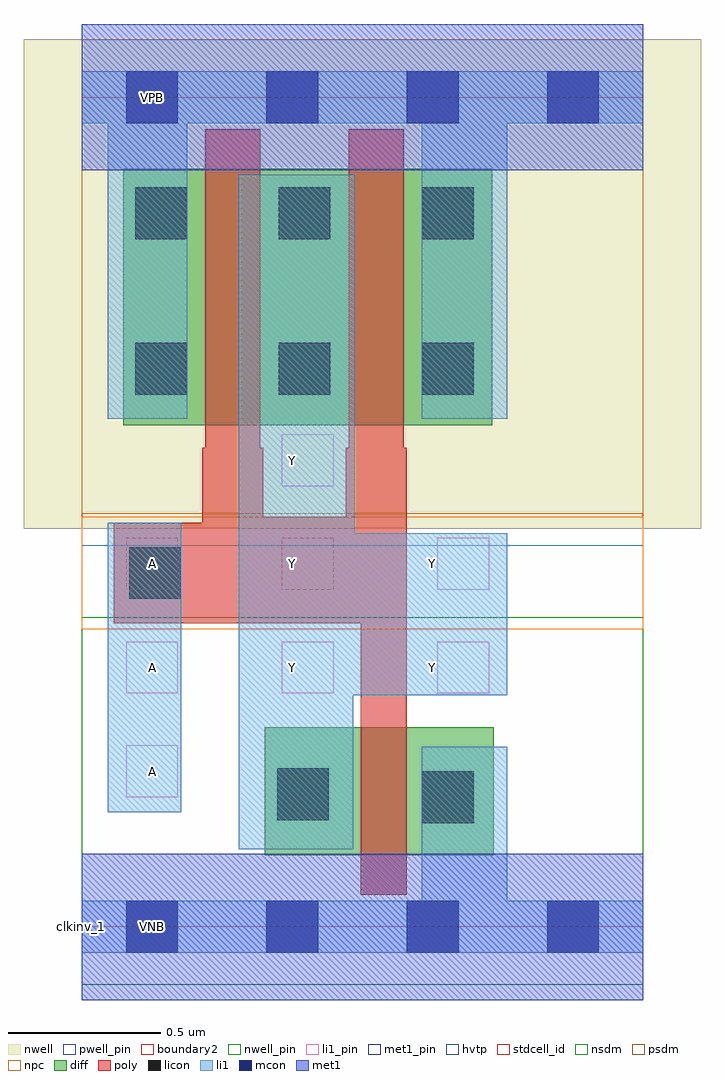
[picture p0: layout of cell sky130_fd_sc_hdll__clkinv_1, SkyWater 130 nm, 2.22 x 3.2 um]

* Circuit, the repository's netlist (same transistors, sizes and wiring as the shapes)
* Copyright 2020 The SkyWater PDK Authors
*
* Licensed under the Apache License, Version 2.0 (the "License");
* you may not use this file except in compliance with the License.
* You may obtain a copy of the License at
*
*     https://www.apache.org/licenses/LICENSE-2.0
*
* Unless required by applicable law or agreed to in writing, software
* distributed under the License is distributed on an "AS IS" BASIS,
* WITHOUT WARRANTIES OR CONDITIONS OF ANY KIND, either express or implied.
* See the License for the specific language governing permissions and
* limitations under the License.
*
* SPDX-License-Identifier: Apache-2.0

.SUBCKT sky130_fd_sc_hdll__clkinv_1 A VGND VNB VPB VPWR Y
*.PININFO A:I VGND:I VNB:I VPB:I VPWR:I Y:O
MMIN0 Y A VGND VNB sky130_fd_pr__nfet_01v8 m=1 w=0.42U l=0.15U mult=1 sa=0.265
+ sb=0.265 sd=0.28 area=0.063 perim=1.14
MMIP0 Y A VPWR VPB sky130_fd_pr__pfet_01v8_hvt m=2 w=0.84U l=0.18U mult=1 sa=0.265
+ sb=0.265 sd=0.28 area=0.063 perim=1.14
.ENDS sky130_fd_sc_hdll__clkinv_1

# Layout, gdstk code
import gdstk
lib = gdstk.Library(unit=1e-6, precision=1e-09)
def R(c, l, rs):  # rectangles x0, y0, x1, y1
    for r in rs: c.add(gdstk.rectangle(r[:2], r[2:], *l))
def A(c, l, x, y, w, h, nx, ny, dx, dy):  # array of equal rectangles
    R(c, l, [(x+i*dx, y+j*dy, x+i*dx+w, y+j*dy+h) for i in range(nx) for j in range(ny)])
def P(c, l, *ps):  # polygons
    for p in ps: c.add(gdstk.Polygon(p, *l))
nwell_pin = (64, 16)
nwell = (64, 20)
diff = (65, 20)
poly = (66, 20)
licon = (66, 44)
li1_pin = (67, 16)
li1 = (67, 20)
mcon = (67, 44)
met1_pin = (68, 16)
met1 = (68, 20)
hvtp = (78, 44)
stdcell_id = (81, 4)
nsdm = (93, 44)
psdm = (94, 20)
npc = (95, 20)
pwell_pin = (122, 16)
boundary2 = (236, 0)

sky130_fd_sc_hdll__clkin = lib.new_cell('sky130_fd_sc_hdll__clkinv_1')
R(sky130_fd_sc_hdll__clkin, nwell_pin, [(0.145,2.635,0.315,2.805)])
R(sky130_fd_sc_hdll__clkin, nwell, [(-0.19,1.305,2.03,2.91)])
R(sky130_fd_sc_hdll__clkin, diff, [(0.6,0.235,1.35,0.655), (0.135,1.645,1.345,2.485)])
P(sky130_fd_sc_hdll__clkin, poly, [(1.065,1.57),(1.055,1.57),(1.055,2.615),(0.875,2.615),(0.875,1.57),(0.865,1.57),(0.865,1.345),(0.595,1.345),(0.595,1.57),(0.585,1.57),(0.585,2.615),(0.405,2.615),(0.405,1.57),(0.395,1.57),(0.395,1.325),(0.105,1.325),(0.105,0.995),(0.915,0.995),(0.915,0.105),(1.065,0.105)])
A(sky130_fd_sc_hdll__clkin, licon, 0.175, 1.745, 0.17, 0.17, 3, 2, 0.47, 0.51)
R(sky130_fd_sc_hdll__clkin, licon, [(1.115,0.34,1.285,0.51), (0.64,0.35,0.81,0.52), (0.155,1.075,0.325,1.245)])
A(sky130_fd_sc_hdll__clkin, li1_pin, 0.145, 0.765, 0.17, 0.17, 3, 2, 0.51, 0.34)
R(sky130_fd_sc_hdll__clkin, li1_pin, [(0.145,0.425,0.315,0.595), (0.655,1.445,0.825,1.615)])
R(sky130_fd_sc_hdll__clkin, li1, [(0.085,0.375,0.325,1.325)])
P(sky130_fd_sc_hdll__clkin, li1, [(1.84,0.085),(1.395,0.085),(1.395,0.59),(1.115,0.59),(1.115,0.085),(0,0.085),(0,-0.085),(1.84,-0.085)],
  [(1.84,2.805),(0,2.805),(0,2.635),(0.085,2.635),(0.085,1.665),(0.345,1.665),(0.345,2.635),(1.115,2.635),(1.115,1.665),(1.395,1.665),(1.395,2.635),(1.84,2.635)],
  [(1.395,1.29),(0.895,1.29),(0.895,2.465),(0.515,2.465),(0.515,0.255),(0.89,0.255),(0.89,0.76),(1.395,0.76)])
A(sky130_fd_sc_hdll__clkin, mcon, 0.145, -0.085, 0.17, 0.17, 4, 2, 0.46, 2.72)
R(sky130_fd_sc_hdll__clkin, met1_pin, [(0.145,-0.085,0.315,0.085), (0.145,2.635,0.315,2.805)])
R(sky130_fd_sc_hdll__clkin, met1, [(0,-0.24,1.84,0.24), (0,2.48,1.84,2.96)])
R(sky130_fd_sc_hdll__clkin, hvtp, [(0,1.25,1.84,2.72)])
R(sky130_fd_sc_hdll__clkin, stdcell_id, [(0,0,1.84,2.72)])
R(sky130_fd_sc_hdll__clkin, nsdm, [(0,-0.19,1.84,1.015)])
R(sky130_fd_sc_hdll__clkin, psdm, [(0,1.355,1.84,2.91)])
R(sky130_fd_sc_hdll__clkin, npc, [(0,0.975,1.84,1.345)])
R(sky130_fd_sc_hdll__clkin, pwell_pin, [(0.145,-0.085,0.315,0.085)])
R(sky130_fd_sc_hdll__clkin, boundary2, [(0,0,1.84,2.72)])
sky130_fd_sc_hdll__clkin.add(gdstk.Label('Y', (1.15,0.85), layer=67, texttype=5))
sky130_fd_sc_hdll__clkin.add(gdstk.Label('Y', (1.15,1.19), layer=67, texttype=5))
sky130_fd_sc_hdll__clkin.add(gdstk.Label('Y', (0.69,1.53), layer=67, texttype=5))
sky130_fd_sc_hdll__clkin.add(gdstk.Label('Y', (0.69,1.19), layer=67, texttype=5))
sky130_fd_sc_hdll__clkin.add(gdstk.Label('Y', (0.69,0.85), layer=67, texttype=5))
sky130_fd_sc_hdll__clkin.add(gdstk.Label('A', (0.23,0.51), layer=67, texttype=5))
sky130_fd_sc_hdll__clkin.add(gdstk.Label('A', (0.23,0.85), layer=67, texttype=5))
sky130_fd_sc_hdll__clkin.add(gdstk.Label('A', (0.23,1.19), layer=67, texttype=5))
sky130_fd_sc_hdll__clkin.add(gdstk.Label('VPB', (0.23,2.72), layer=64, texttype=5))
sky130_fd_sc_hdll__clkin.add(gdstk.Label('VNB', (0.23,0), layer=64, texttype=59))
sky130_fd_sc_hdll__clkin.add(gdstk.Label('VGND', (0.23,0), layer=68, texttype=5))
sky130_fd_sc_hdll__clkin.add(gdstk.Label('VPWR', (0.23,2.72), layer=68, texttype=5))
sky130_fd_sc_hdll__clkin.add(gdstk.Label('clkinv_1', (0,0), layer=83, texttype=44))

lib.write_gds('sky130_fd_sc_hdll__clkinv_1.gds')
